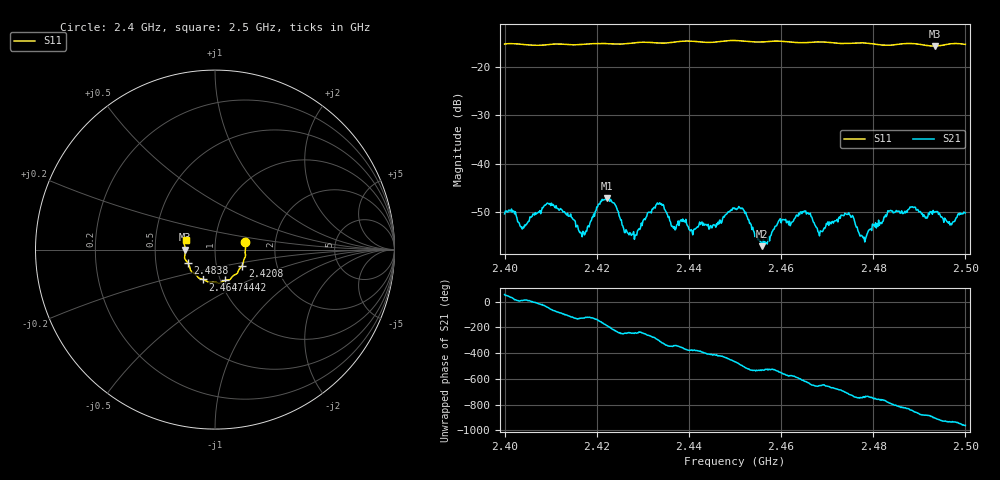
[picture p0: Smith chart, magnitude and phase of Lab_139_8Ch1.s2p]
# Hz S RI R 50
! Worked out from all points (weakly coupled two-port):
!   601 points, 2.4 GHz to 2.5 GHz, reference 50 ohm
!   highest |S21| = -47.17 dB at 2.4222 GHz (marker M1); lowest = -57.1 dB at 2.4558 GHz (marker M2)
!   lowest |S11| = -15.6 dB at 2.4933 GHz (marker M3), VSWR 1.40, Z = 35.8 + j0.00915 ohm
!   |S11| at or under -10 dB: start of sweep to end of sweep
!   S12 and S22 are empty: the file has one direction only
!   S11 on the Smith chart (normalised r, x): 2.4 GHz: 1.40, +0.12; 2.4208 GHz: 1.33, -0.24; 2.4442 GHz: 1.05, -0.37; 2.4647 GHz: 0.83, -0.29; 2.4838 GHz: 0.73, -0.11; 2.5 GHz: 0.71, +0.08
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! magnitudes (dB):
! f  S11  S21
! 2.4 GHz  -15.2  -50.4
! 2.404 GHz  -15.3  -53.2
! 2.4097 GHz  -15.3  -48.4
! 2.4167 GHz  -15.3  -54.4
! 2.4208 GHz  -15.1  -47.8
! 2.4222 GHz  -15.1  -47.2
! 2.428 GHz  -15.0  -54.1
! 2.4333 GHz  -15.0  -48.4
! 2.4367 GHz  -14.8  -53.4
! 2.4442 GHz  -14.9  -52.6
! 2.45 GHz  -14.5  -49.4
! 2.4558 GHz  -14.8  -57.1
! 2.4647 GHz  -14.9  -49.9
! 2.4667 GHz  -14.8  -51.0
! 2.4685 GHz  -14.8  -53.9
! 2.4745 GHz  -15.1  -50.4
! 2.478 GHz  -15.0  -55.2
! 2.4833 GHz  -15.5  -49.8
! 2.4838 GHz  -15.4  -49.7
! 2.4933 GHz  -15.6  -50.1
! 2.4967 GHz  -15.2  -52.7
! 2.5 GHz  -15.3  -50.2
